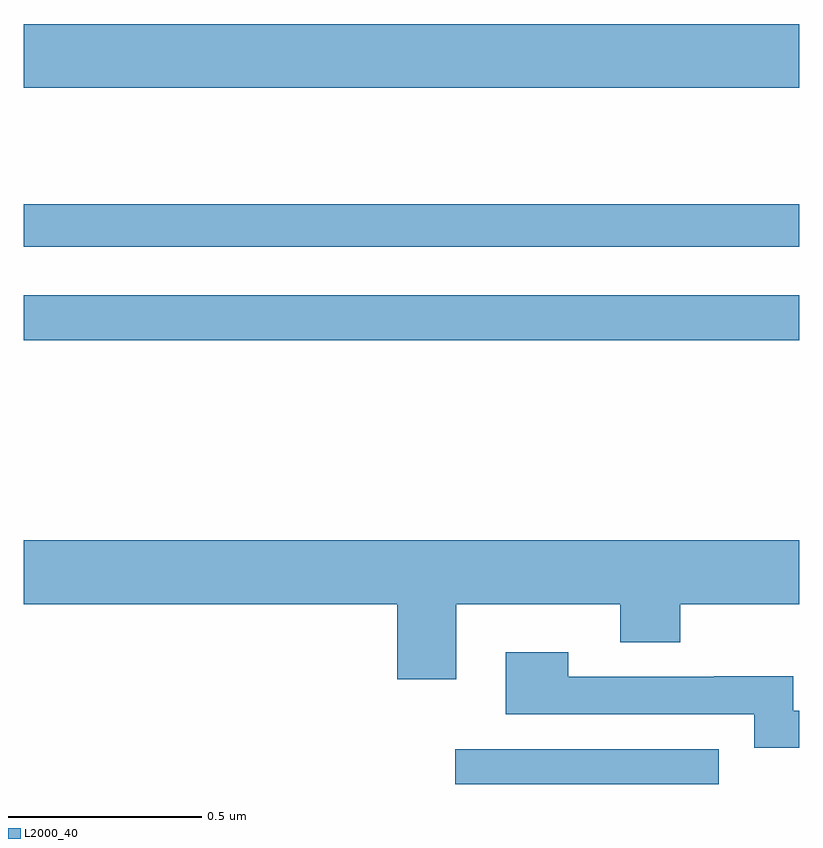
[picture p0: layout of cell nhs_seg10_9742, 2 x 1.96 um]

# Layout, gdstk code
import gdstk
lib = gdstk.Library(unit=1e-6, precision=1e-09)
def R(c, l, rs):  # rectangles x0, y0, x1, y1
    for r in rs: c.add(gdstk.rectangle(r[:2], r[2:], *l))
def P(c, l, *ps):  # polygons
    for p in ps: c.add(gdstk.Polygon(p, *l))
L2000_40 = (2000, 40)

nhs_seg10_9742 = lib.new_cell('nhs_seg10_9742')
R(nhs_seg10_9742, L2000_40, [(234.113,1318.5,234.792,1318.59), (233,1319.644,235,1319.76), (233,1319.886,235,1319.995), (233,1320.296,235,1320.46)])
P(nhs_seg10_9742, L2000_40, [(234.115,1318.964),(234.538,1318.964),(234.538,1318.865),(234.693,1318.865),(234.693,1318.964),(235,1318.964),(235,1319.128),(233,1319.128),(233,1318.964),(233.963,1318.964),(233.963,1318.77),(234.115,1318.77)],
  [(235,1318.689),(234.985,1318.689),(234.985,1318.778),(234.781,1318.778),(234.781,1318.776),(234.404,1318.776),(234.404,1318.84),(234.243,1318.84),(234.243,1318.68),(234.884,1318.68),(234.884,1318.593),(235,1318.593)])

lib.write_gds('nhs_seg10_9742.gds')
